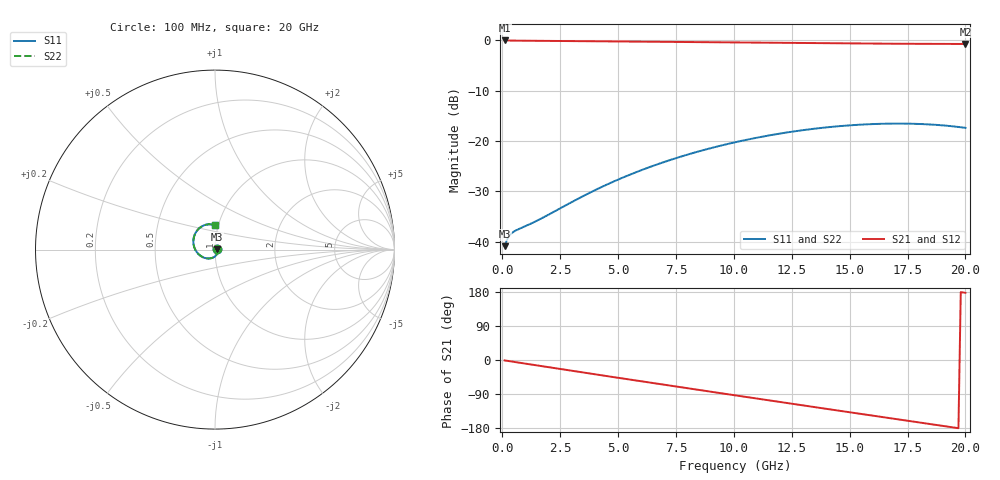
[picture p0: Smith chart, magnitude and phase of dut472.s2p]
! Touchstone file exported from HFSS 2026.1.0
!  File:  C:/ffzhzh/LocalFiles/Ansys_Project_Files/temp_train_TSV_RDL_472_1783103085_46604.aedt
!  Generated:  02:32:54 AM Jul  4, 2026
!  Design:  TSV_RDL
!  Project:  temp_train_TSV_RDL_472_1783103085_46604
! Variables:
!  h_bsmrdl = 5.24um
!  h_ox = 20um
!  h_rdl = 5um
!  h_sub = 56.01um
!  h_tmrdl = 4.65um
!  h_tsv = 56.01um
!  h_via = 3um
!  l_bsmrdl = 524.66um
!  l_sub = 3028.95um
!  l_tmrdl = 227.66um
!  m_sub = 200um
!  pitch = 33.39um
!  r_tsv = 13.87um
!  s_tmrdl = 10um
!  w_bsmrdl = 29.39um
!  w_sub = 500um
!  w_tmrdl = 18.72um
!  x_tsv_center1 = 237.02um
!  x_tsv_center2 = 791.07um
!  x_tsv_center3 = 1037.45um
!  x_tsv_center4 = 1591.5um
!  x_tsv_center5 = 1837.88um
!  x_tsv_center6 = 2391.93um
# GHz S MA R 50.000000
! Terminal data exported
! Port[1] = TM_RDL1_1_T1
! Port[2] = TM_RDL5_1_T1
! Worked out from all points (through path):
!   200 points, 100 MHz to 20 GHz, reference 50 ohm
!   highest |S21| = -0.08 dB at 100 MHz (marker M1); lowest = -0.8 dB at 20 GHz (marker M2)
!   group delay of S21, straight-line fit = 25.3 ps
!   lowest |S11| = -40.8 dB at 100 MHz (marker M3), VSWR 1.02, Z = 50.9 + j0.142 ohm
!   |S11| at or under -10 dB: start of sweep to end of sweep
!   |S22| runs from -40.8 to -16.6 dB; largest |S21 - S12| = 1.7e-14
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0.1  0.009071 8.8  0.9911 -1.1  0.9911 -1.1  0.009071 8.8
! Gamma 0 0 0 0
! Port Impedance 50 0 50 0
0.2  0.01048 9.2  0.9897 -2.1  0.9897 -2.1  0.01048 9.2
0.3  0.01151 6.1  0.9886 -3.0  0.9886 -3.0  0.01151 6.1
0.5  0.01266 -1.1  0.9872 -4.9  0.9872 -4.9  0.01266 -1.1
1.3  0.01541 -22.9  0.9845 -12.4  0.9845 -12.4  0.01541 -22.9
2  0.01862 -38.9  0.982 -19.0  0.982 -19.0  0.01862 -38.9
3.5  0.02849 -69.8  0.9755 -33.1  0.9755 -33.1  0.02849 -69.8
5.2  0.04334 -99.8  0.9678 -48.8  0.9678 -48.8  0.04333 -99.8
6.8  0.05984 -124.2  0.9609 -63.5  0.9609 -63.5  0.05982 -124.2
7.7  0.06986 -136.7  0.957 -71.7  0.957 -71.7  0.06985 -136.7
8.5  0.07905 -147.3  0.9535 -79.1  0.9535 -79.1  0.07903 -147.3
9.3  0.08836 -157.4  0.9499 -86.4  0.9499 -86.4  0.08834 -157.4
10.1  0.09764 -167.1  0.9464 -93.6  0.9464 -93.6  0.09761 -167.1
10.9  0.1067 -176.5  0.9428 -100.9  0.9428 -100.9  0.1067 -176.5
11.7  0.1154 174.4  0.9392 -108.2  0.9392 -108.2  0.1154 174.4
12.5  0.1235 165.6  0.9357 -115.4  0.9357 -115.4  0.1235 165.6
13.4  0.1317 155.9  0.9318 -123.5  0.9318 -123.5  0.1316 155.9
15.1  0.1434 138.3  0.9252 -138.8  0.9252 -138.8  0.1434 138.3
16.7  0.1486 122.3  0.9202 -153.1  0.9202 -153.1  0.1485 122.3
17.6  0.1484 113.5  0.9181 -161.2  0.9181 -161.2  0.1483 113.5
18.4  0.1461 105.8  0.9167 -168.3  0.9167 -168.3  0.146 105.8
20  0.1349 90.6  0.915 177.3  0.915 177.3  0.1349 90.5
